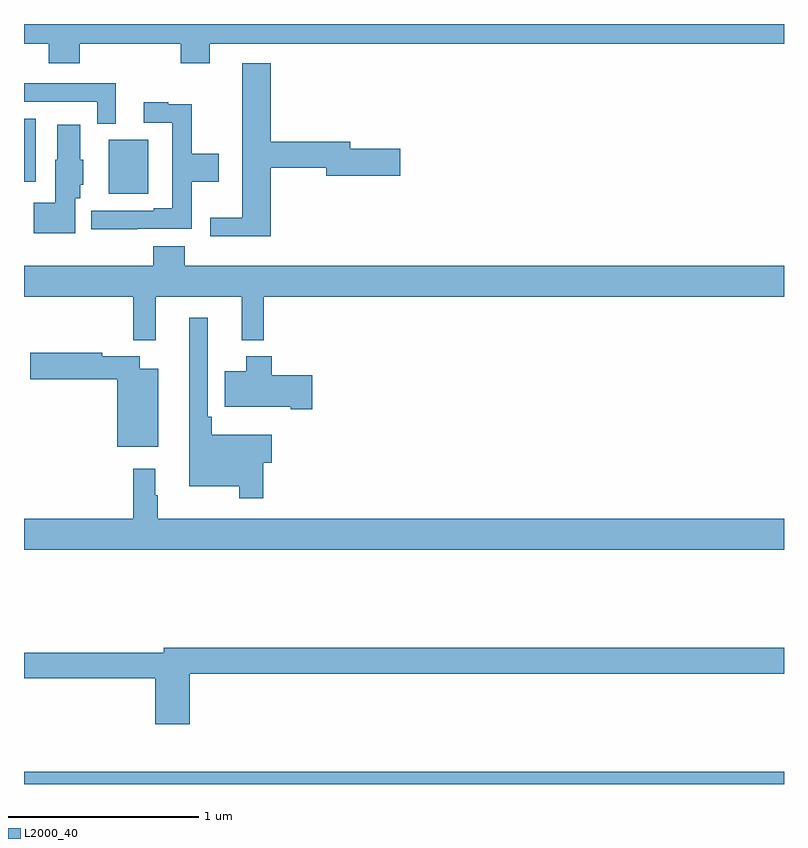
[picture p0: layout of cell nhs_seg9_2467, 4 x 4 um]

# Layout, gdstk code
import gdstk
lib = gdstk.Library(unit=1e-6, precision=1e-09)
def R(c, l, rs):  # rectangles x0, y0, x1, y1
    for r in rs: c.add(gdstk.rectangle(r[:2], r[2:], *l))
def P(c, l, *ps):  # polygons
    for p in ps: c.add(gdstk.Polygon(p, *l))
L2000_40 = (2000, 40)

nhs_seg9_2467 = lib.new_cell('nhs_seg9_2467')
R(nhs_seg9_2467, L2000_40, [(251,1216.5,255,1216.564), (251.447,1219.607,251.653,1219.891), (251,1219.67,251.062,1220.002)])
P(nhs_seg9_2467, L2000_40, [(251.294,1220.396),(251.825,1220.396),(251.825,1220.294),(251.977,1220.294),(251.977,1220.396),(255,1220.396),(255,1220.5),(251,1220.5),(251,1220.396),(251.129,1220.396),(251.129,1220.294),(251.294,1220.294)],
  [(252.299,1219.744),(252.59,1219.744),(252.59,1219.702),(252.979,1219.702),(252.979,1219.844),(252.718,1219.844),(252.718,1219.88),(252.299,1219.88),(252.299,1220.293),(252.149,1220.293),(252.149,1219.481),(251.979,1219.481),(251.979,1219.382),(252.299,1219.382)],
  [(251.482,1220.187),(251,1220.187),(251,1220.091),(251.385,1220.091),(251.385,1219.976),(251.482,1219.976)],
  [(251.597,1219.422),(251.882,1219.422),(251.882,1219.67),(252.025,1219.67),(252.025,1219.818),(251.882,1219.818),(251.882,1220.078),(251.759,1220.078),(251.759,1220.089),(251.631,1220.089),(251.631,1219.98),(251.781,1219.98),(251.781,1219.531),(251.684,1219.531),(251.684,1219.518),(251.355,1219.518),(251.355,1219.421),(251.597,1219.421)],
  [(251.269,1219.584),(251.296,1219.584),(251.296,1219.653),(251.311,1219.653),(251.311,1219.785),(251.296,1219.785),(251.296,1219.969),(251.174,1219.969),(251.174,1219.785),(251.165,1219.785),(251.165,1219.558),(251.05,1219.558),(251.05,1219.4),(251.269,1219.4)],
  [(251.693,1219.064),(252.146,1219.064),(252.146,1218.836),(252.263,1218.836),(252.263,1219.064),(255,1219.064),(255,1219.228),(251.846,1219.228),(251.846,1219.33),(251.681,1219.33),(251.681,1219.228),(251,1219.228),(251,1219.064),(251.575,1219.064),(251.575,1218.836),(251.693,1218.836)],
  [(252.26,1218.19),(252.304,1218.19),(252.304,1218.337),(251.987,1218.337),(251.987,1218.433),(251.967,1218.433),(251.967,1218.955),(251.87,1218.955),(251.87,1218.068),(252.132,1218.068),(252.132,1218.003),(252.26,1218.003)],
  [(251.707,1218.685),(251.608,1218.685),(251.608,1218.751),(251.412,1218.751),(251.412,1218.771),(251.033,1218.771),(251.033,1218.629),(251.492,1218.629),(251.492,1218.275),(251.707,1218.275)],
  [(252.517,1218.651),(252.305,1218.651),(252.305,1218.751),(252.17,1218.751),(252.17,1218.673),(252.056,1218.673),(252.056,1218.485),(252.404,1218.485),(252.404,1218.473),(252.517,1218.473)],
  [(255,1217.896),(251.704,1217.896),(251.704,1218.02),(251.692,1218.02),(251.692,1218.16),(251.575,1218.16),(251.575,1217.896),(251,1217.896),(251,1217.732),(255,1217.732)],
  [(251.873,1217.08),(255,1217.08),(255,1217.216),(251.736,1217.216),(251.736,1217.192),(251,1217.192),(251,1217.056),(251.69,1217.056),(251.69,1216.815),(251.873,1216.815)])

lib.write_gds('nhs_seg9_2467.gds')
